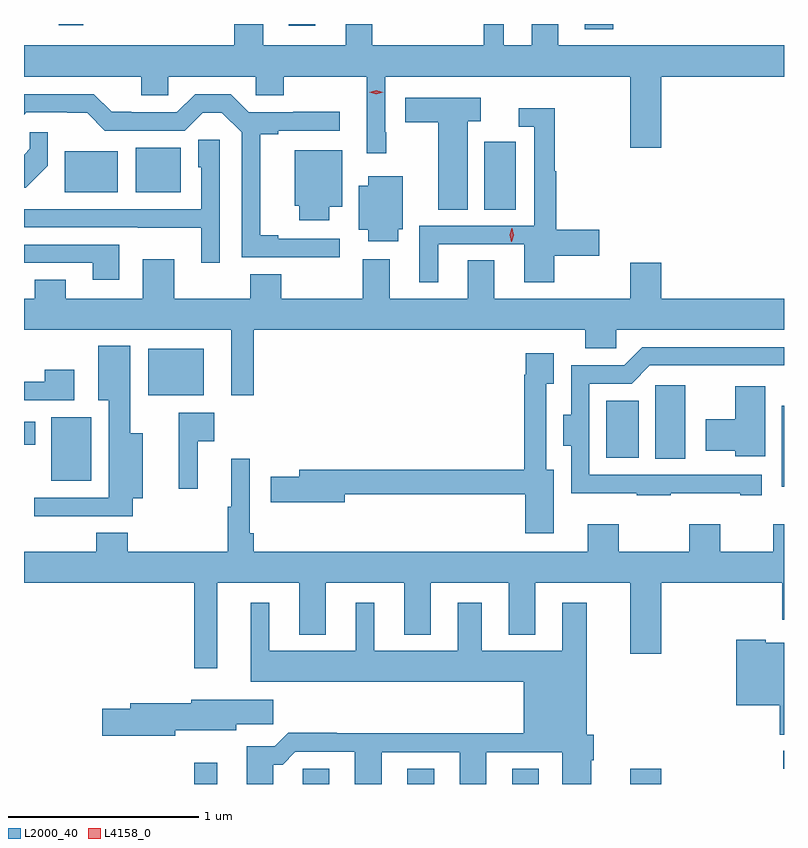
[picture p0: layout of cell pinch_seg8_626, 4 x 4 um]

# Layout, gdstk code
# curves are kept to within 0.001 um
import gdstk
lib = gdstk.Library(unit=1e-6, precision=1e-09)
def R(c, l, rs):  # rectangles x0, y0, x1, y1
    for r in rs: c.add(gdstk.rectangle(r[:2], r[2:], *l))
def P(c, l, *ps):  # polygons
    for p in ps: c.add(gdstk.Polygon(p, *l))
L2000_40 = (2000, 40)
L4158_0 = (4158, 0)

pinch_seg8_626 = lib.new_cell('pinch_seg8_626')
R(pinch_seg8_626, L2000_40, [(246.63,1096.793,246.751,1096.906), (247.2,1096.793,247.339,1096.874), (247.751,1096.793,247.891,1096.874), (248.303,1096.793,248.443,1096.874), (248.924,1096.793,249.088,1096.873), (249.729,1096.872,249.733,1096.968), (249.722,1098.357,249.733,1098.784), (245.876,1098.389,246.088,1098.724), (249.056,1098.505,249.214,1098.892), (248.798,1098.509,248.968,1098.811), (245.733,1098.578,245.791,1098.7), (246.386,1098.839,246.679,1099.084), (248.156,1099.816,248.32,1100.173), (245.948,1099.907,246.226,1100.122), (246.32,1099.907,246.559,1100.143), (248.685,1100.766,248.834,1100.793), (247.127,1100.784,247.267,1100.793), (245.916,1100.787,246.044,1100.793)])
P(pinch_seg8_626, L2000_40, [(247.64,1100.224),(247.635,1100.224),(247.635,1100.516),(248.924,1100.516),(248.924,1100.142),(249.088,1100.142),(249.088,1100.516),(249.733,1100.516),(249.733,1100.68),(248.545,1100.68),(248.545,1100.793),(248.405,1100.793),(248.405,1100.68),(248.257,1100.68),(248.257,1100.793),(248.153,1100.793),(248.153,1100.68),(247.567,1100.68),(247.567,1100.793),(247.427,1100.793),(247.427,1100.68),(246.991,1100.68),(246.991,1100.793),(246.839,1100.793),(246.839,1100.68),(245.733,1100.68),(245.733,1100.516),(246.35,1100.516),(246.35,1100.418),(246.492,1100.418),(246.492,1100.516),(246.954,1100.516),(246.954,1100.418),(247.101,1100.418),(247.101,1100.516),(247.538,1100.516),(247.538,1100.112),(247.64,1100.112)],
  [(247.396,1099.662),(247.072,1099.662),(247.072,1099.682),(246.977,1099.682),(246.977,1100.212),(247.072,1100.212),(247.072,1100.232),(247.396,1100.232),(247.396,1100.33),(247.149,1100.33),(247.149,1100.328),(246.916,1100.328),(246.82,1100.424),(246.633,1100.424),(246.537,1100.328),(246.298,1100.328),(246.298,1100.33),(246.194,1100.33),(246.099,1100.424),(245.733,1100.424),(245.733,1100.316),(245.745,1100.328),(246.065,1100.327),(246.159,1100.232),(246.579,1100.232),(246.674,1100.327),(246.775,1100.327),(246.879,1100.223),(246.879,1099.566),(247.396,1099.565)],
  [(248.068,1100.282),(248.137,1100.282),(248.137,1100.404),(247.74,1100.404),(247.74,1100.275),(247.913,1100.275),(247.913,1099.816),(248.068,1099.816)],
  [(247.912,1099.635),(248.366,1099.635),(248.366,1099.434),(248.523,1099.434),(248.523,1099.574),(248.761,1099.574),(248.761,1099.709),(248.534,1099.709),(248.534,1100.019),(248.527,1100.019),(248.527,1100.35),(248.337,1100.35),(248.337,1100.253),(248.418,1100.253),(248.418,1099.731),(247.814,1099.731),(247.814,1099.434),(247.912,1099.434)],
  [(245.859,1100.048),(245.859,1100.224),(245.764,1100.224),(245.764,1100.136),(245.733,1100.105),(245.733,1099.932),(245.743,1099.932)],
  [(246.762,1100.183),(246.65,1100.183),(246.65,1100.04),(246.666,1100.04),(246.666,1099.818),(245.733,1099.818),(245.733,1099.722),(246.331,1099.722),(246.331,1099.721),(246.665,1099.721),(246.665,1099.536),(246.762,1099.536)],
  [(247.339,1099.832),(247.408,1099.832),(247.408,1100.128),(247.157,1100.128),(247.157,1099.836),(247.181,1099.836),(247.181,1099.76),(247.339,1099.76)],
  [(247.702,1099.713),(247.726,1099.713),(247.726,1099.993),(247.544,1099.993),(247.544,1099.942),(247.496,1099.942),(247.496,1099.709),(247.544,1099.709),(247.544,1099.649),(247.702,1099.649)],
  [(246.235,1099.632),(245.733,1099.632),(245.733,1099.536),(246.095,1099.536),(246.095,1099.446),(246.235,1099.446)],
  [(248.687,1099.086),(248.85,1099.086),(248.85,1099.184),(249.733,1099.184),(249.733,1099.348),(249.088,1099.348),(249.088,1099.537),(248.924,1099.537),(248.924,1099.348),(248.209,1099.348),(248.209,1099.55),(248.069,1099.55),(248.069,1099.348),(247.657,1099.348),(247.657,1099.555),(247.517,1099.555),(247.517,1099.348),(247.087,1099.348),(247.087,1099.477),(246.923,1099.477),(246.923,1099.348),(246.523,1099.348),(246.523,1099.555),(246.359,1099.555),(246.359,1099.348),(245.953,1099.348),(245.953,1099.447),(245.789,1099.447),(245.789,1099.348),(245.733,1099.348),(245.733,1099.184),(246.824,1099.184),(246.824,1098.84),(246.941,1098.84),(246.941,1099.184),(248.687,1099.184)],
  [(246.305,1098.296),(246.358,1098.296),(246.358,1098.64),(246.292,1098.64),(246.292,1099.099),(246.125,1099.099),(246.125,1098.812),(246.179,1098.812),(246.179,1098.3),(245.787,1098.3),(245.787,1098.203),(246.305,1098.203)],
  [(249.137,1098.323),(249.503,1098.323),(249.503,1098.312),(249.616,1098.312),(249.616,1098.42),(248.709,1098.42),(248.709,1098.9),(248.931,1098.9),(249.027,1098.996),(249.733,1098.996),(249.733,1099.092),(248.988,1099.092),(248.892,1098.996),(248.612,1098.996),(248.612,1098.736),(248.57,1098.736),(248.57,1098.572),(248.613,1098.572),(248.613,1098.323),(248.959,1098.323),(248.959,1098.312),(249.137,1098.312)],
  [(248.521,1098.448),(248.481,1098.448),(248.481,1098.899),(248.521,1098.899),(248.521,1099.06),(248.373,1099.06),(248.373,1098.947),(248.365,1098.947),(248.365,1098.446),(247.181,1098.446),(247.181,1098.41),(247.032,1098.41),(247.032,1098.275),(247.42,1098.275),(247.42,1098.318),(248.372,1098.318),(248.372,1098.114),(248.521,1098.114)],
  [(245.998,1098.973),(245.842,1098.973),(245.842,1098.909),(245.733,1098.909),(245.733,1098.813),(245.998,1098.813)],
  [(249.634,1098.886),(249.476,1098.886),(249.476,1098.712),(249.321,1098.712),(249.321,1098.548),(249.476,1098.548),(249.476,1098.518),(249.634,1098.518)],
  [(246.647,1098.596),(246.733,1098.596),(246.733,1098.748),(246.548,1098.748),(246.548,1098.348),(246.647,1098.348)],
  [(248.924,1097.478),(249.088,1097.478),(249.088,1097.852),(249.725,1097.852),(249.725,1097.658),(249.733,1097.658),(249.733,1098.16),(249.677,1098.16),(249.677,1098.016),(249.397,1098.016),(249.397,1098.16),(249.233,1098.16),(249.233,1098.016),(248.863,1098.016),(248.863,1098.16),(248.699,1098.16),(248.699,1098.016),(246.941,1098.016),(246.941,1098.112),(246.921,1098.112),(246.921,1098.505),(246.824,1098.505),(246.824,1098.252),(246.805,1098.252),(246.805,1098.016),(246.278,1098.016),(246.278,1098.115),(246.113,1098.115),(246.113,1098.016),(245.733,1098.016),(245.733,1097.852),(246.63,1097.852),(246.63,1097.403),(246.751,1097.403),(246.751,1097.852),(247.181,1097.852),(247.181,1097.579),(247.321,1097.579),(247.321,1097.852),(247.733,1097.852),(247.733,1097.579),(247.873,1097.579),(247.873,1097.852),(248.285,1097.852),(248.285,1097.579),(248.425,1097.579),(248.425,1097.852),(248.924,1097.852)],
  [(247.045,1096.895),(247.094,1096.895),(247.161,1096.962),(247.475,1096.962),(247.475,1096.793),(247.615,1096.793),(247.615,1096.959),(248.027,1096.959),(248.027,1096.793),(248.167,1096.793),(248.167,1096.959),(248.567,1096.959),(248.567,1096.793),(248.719,1096.793),(248.719,1096.919),(248.732,1096.919),(248.732,1097.052),(248.695,1097.052),(248.695,1097.746),(248.567,1097.746),(248.567,1097.494),(248.143,1097.494),(248.143,1097.746),(248.015,1097.746),(248.015,1097.494),(247.576,1097.494),(247.576,1097.746),(247.478,1097.746),(247.478,1097.494),(247.024,1097.494),(247.024,1097.746),(246.926,1097.746),(246.926,1097.33),(248.363,1097.33),(248.363,1097.06),(247.379,1097.06),(247.379,1097.063),(247.124,1097.063),(247.054,1096.993),(246.905,1096.993),(246.905,1096.793),(247.045,1096.793)],
  [(249.733,1097.536),(249.636,1097.536),(249.636,1097.551),(249.482,1097.551),(249.482,1097.207),(249.71,1097.207),(249.71,1097.053),(249.733,1097.053)],
  [(246.528,1097.075),(246.85,1097.075),(246.85,1097.107),(247.045,1097.107),(247.045,1097.236),(246.614,1097.236),(246.614,1097.219),(246.293,1097.219),(246.293,1097.189),(246.144,1097.189),(246.144,1097.047),(246.528,1097.047)])
P(pinch_seg8_626, L4158_0, [(247.587,1100.424),(247.551,1100.434),(247.551,1100.434),(247.551,1100.434),(247.587,1100.444),(247.623,1100.434),(247.623,1100.434),(247.623,1100.434)],
  [(248.298,1099.647),(248.29,1099.683),(248.301,1099.719),(248.302,1099.719),(248.302,1099.719),(248.31,1099.682),(248.299,1099.647),(248.299,1099.647)])

lib.write_gds('pinch_seg8_626.gds')
